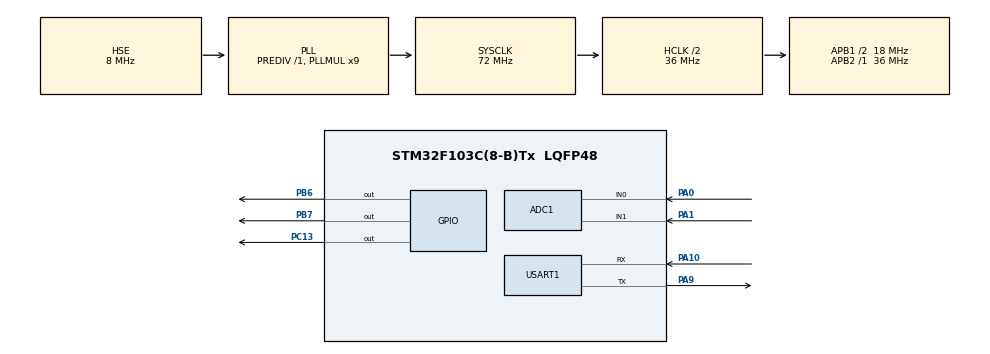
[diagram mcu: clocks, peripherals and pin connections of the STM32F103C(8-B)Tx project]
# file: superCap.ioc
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ADC1.Channel-3\#ChannelRegularConversion=ADC_CHANNEL_0
ADC1.Channel-4\#ChannelRegularConversion=ADC_CHANNEL_1
ADC1.ContinuousConvMode=DISABLE
ADC1.ExternalTrigConv=ADC_EXTERNALTRIGCONV_T3_TRGO
ADC1.NbrOfConversion=2
ADC1.NbrOfConversionFlag=1
ADC1.Rank-3\#ChannelRegularConversion=1
ADC1.Rank-4\#ChannelRegularConversion=2
ADC1.SamplingTime-3\#ChannelRegularConversion=ADC_SAMPLETIME_1CYCLE_5
ADC1.SamplingTime-4\#ChannelRegularConversion=ADC_SAMPLETIME_1CYCLE_5
ADC1.master=1
Dma.ADC1.0.Direction=DMA_PERIPH_TO_MEMORY
Dma.ADC1.0.Instance=DMA1_Channel1
Dma.ADC1.0.MemDataAlignment=DMA_MDATAALIGN_WORD
Dma.ADC1.0.MemInc=DMA_MINC_ENABLE
Dma.ADC1.0.Mode=DMA_CIRCULAR
Dma.ADC1.0.PeriphDataAlignment=DMA_PDATAALIGN_WORD
Dma.ADC1.0.PeriphInc=DMA_PINC_DISABLE
Dma.ADC1.0.Priority=DMA_PRIORITY_LOW
Dma.Request0=ADC1
Mcu.Family=STM32F1
Mcu.Name=STM32F103C(8-B)Tx
Mcu.Package=LQFP48
NVIC.ADC1_2_IRQn=true\:0\:0\:false\:false\:true\:true\:true\:true
NVIC.DMA1_Channel1_IRQn=true\:0\:0\:false\:false\:true\:false\:true\:true
NVIC.PriorityGroup=NVIC_PRIORITYGROUP_4
NVIC.TIM3_IRQn=true\:0\:0\:false\:false\:true\:true\:true\:true
NVIC.USART1_IRQn=true\:0\:0\:false\:false\:true\:true\:true\:true
PA0-WKUP.Signal=ADCx_IN0
PA1.Signal=ADCx_IN1
PA10.Mode=Asynchronous
PA10.Signal=USART1_RX
PA9.Mode=Asynchronous
PA9.Signal=USART1_TX
PB6.GPIO_ModeDefaultOutputPP=GPIO_MODE_OUTPUT_OD
PB6.GPIO_PuPd=GPIO_PULLUP
PB6.Signal=GPIO_Output
PB7.GPIO_ModeDefaultOutputPP=GPIO_MODE_OUTPUT_OD
PB7.GPIO_PuPd=GPIO_PULLUP
PB7.Signal=GPIO_Output
PC13-TAMPER-RTC.PinState=GPIO_PIN_SET
PC13-TAMPER-RTC.Signal=GPIO_Output
PC14-OSC32_IN.Mode=LSE-External-Oscillator
PC14-OSC32_IN.Signal=RCC_OSC32_IN
PC15-OSC32_OUT.Mode=LSE-External-Oscillator
PC15-OSC32_OUT.Signal=RCC_OSC32_OUT
PD0-OSC_IN.Mode=HSE-External-Oscillator
PD0-OSC_IN.Signal=RCC_OSC_IN
PD1-OSC_OUT.Mode=HSE-External-Oscillator
PD1-OSC_OUT.Signal=RCC_OSC_OUT
ProjectManager.HeapSize=0x200
ProjectManager.StackSize=0x400
ProjectManager.TargetToolchain=MDK-ARM V5
RCC.ADCPresc=RCC_ADCPCLK2_DIV4
RCC.AHBCLKDivider=RCC_SYSCLK_DIV2
RCC.AHBFreq_Value=36000000
RCC.APB1CLKDivider=RCC_HCLK_DIV2
RCC.APB1Freq_Value=18000000
RCC.APB1TimFreq_Value=36000000
RCC.APB2Freq_Value=36000000
RCC.APB2TimFreq_Value=36000000
RCC.HCLKFreq_Value=36000000
RCC.PLLMUL=RCC_PLL_MUL9
RCC.PLLSourceVirtual=RCC_PLLSOURCE_HSE
RCC.SYSCLKFreq_VALUE=72000000
RCC.SYSCLKSource=RCC_SYSCLKSOURCE_PLLCLK
RCC.USBFreq_Value=72000000
SH.ADCx_IN0.0=ADC1_IN0,IN0
SH.ADCx_IN1.0=ADC1_IN1,IN1
TIM3.AutoReloadPreload=TIM_AUTORELOAD_PRELOAD_ENABLE
TIM3.Period=59
TIM3.Prescaler=599
TIM3.TIM_MasterOutputTrigger=TIM_TRGO_UPDATE
USART1.VirtualMode=VM_ASYNC
VP_SYS_VS_ND.Mode=No_Debug
VP_TIM3_VS_ClockSourceINT.Mode=Internal
board=custom

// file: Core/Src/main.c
/* USER CODE BEGIN Header */
/**
 ******************************************************************************
 * @file           : main.c
 * @brief          : Main program body
 ******************************************************************************
 * @attention
 *
 * Copyright (c) 2022 STMicroelectronics.
 * All rights reserved.
 *
 * This software is licensed under terms that can be found in the LICENSE file
 * in the root directory of this software component.
 * If no LICENSE file comes with this software, it is provided AS-IS.
 *
 ******************************************************************************
 */
/* USER CODE END Header */
#include "main.h"

/* USER CODE BEGIN Includes */
#include "IIC_OLED.h"
#include "math.h"
#include "stdio.h"
#include "stdlib.h"
#include "string.h"
/* USER CODE END Includes */

/* USER CODE BEGIN PD */
#define MCU_FREQ 72000000
#define TIM_FREQ 1
#define CAPACITY 58.5
#define TIM_TICK (1.0 / TIM_FREQ)
#define SAMPLE_RESISTANCE 0.1
#define TIMES 100
/* USER CODE END PD */

ADC_HandleTypeDef hadc1;
DMA_HandleTypeDef hdma_adc1;

TIM_HandleTypeDef htim3;

UART_HandleTypeDef huart1;

/* USER CODE BEGIN PV */
uint32_t adc_value[256] = {0};
uint8_t aRxBuffer;                // 接收中断缓冲
uint8_t Uart1_RxBuff[256] = {0};  // 接收缓冲
uint8_t Uart1_Rx_Cnt = 0;         // 接收缓冲计数
uint8_t Uart1_RxFlag = 0;
uint8_t cAlmStr[] = "数据溢出(大于256)\r\n";
uint8_t Uart1_TxBuff[256] = {0};  // 发�?�缓�????????????????????????
char msg[256] = {0};
uint8_t BLEConnected = 0, started = 0;
uint8_t ADC_DMAFlag = 0;
float u1 = 0, u2 = 0, uSample = 0, remainEnergy = 0, power = 0;
/* USER CODE END PV */

void SystemClock_Config(void);
static void MX_GPIO_Init(void);
static void MX_DMA_Init(void);
static void MX_ADC1_Init(void);
static void MX_TIM3_Init(void);
static void MX_USART1_UART_Init(void);

/* USER CODE BEGIN 0 */
void HAL_UART_RxCpltCallback(UART_HandleTypeDef *huart) {
    if (Uart1_Rx_Cnt >= 255)  // 溢出判断
    {
        Uart1_Rx_Cnt = 0;
        memset(Uart1_RxBuff, 0x00, sizeof(Uart1_RxBuff));
        HAL_UART_Transmit(&huart1, (uint8_t *)&cAlmStr, sizeof(cAlmStr), 0xFFFF);
    } else {
        Uart1_RxBuff[Uart1_Rx_Cnt++] = aRxBuffer;
        if ((Uart1_RxBuff[Uart1_Rx_Cnt - 1] == 0x0A) && (Uart1_RxBuff[Uart1_Rx_Cnt - 2] == 0x0D)) {
            Uart1_RxFlag = 1;
        }
    }

    HAL_UART_Receive_IT(&huart1, (uint8_t *)&aRxBuffer, 1);
}

void cal_arr_and_psc(float SamplingRate, float MCUFreq, TIM_TypeDef *TIMx) {
    uint32_t totalDashed = MCUFreq / SamplingRate;
    uint32_t sqrtedTotal = (uint32_t)sqrt(totalDashed);

    for (uint32_t Prescaler = 2; Prescaler <= sqrtedTotal || Prescaler < 0xffff;
         Prescaler++) {
        if (totalDashed % Prescaler == 0 && Prescaler > 1 &&
            totalDashed / Prescaler > 1) {
            if (totalDashed / Prescaler <= 0xffff) {
                TIMx->ARR = totalDashed / Prescaler - 1;
                TIMx->PSC = Prescaler - 1;
            }
        }
    }
    totalDashed += 1;
    for (uint32_t Prescaler = 2; Prescaler <= sqrtedTotal || Prescaler < 0xffff;
         Prescaler++) {
        if (totalDashed % Prescaler == 0 && Prescaler > 1 &&
            totalDashed / Prescaler > 1) {
            if (totalDashed / Prescaler <= 0xffff) {
                TIMx->ARR = totalDashed / Prescaler - 1;
                TIMx->PSC = Prescaler - 1;
            }
        }
    }
}

void HAL_ADC_ConvCpltCallback(ADC_HandleTypeDef *hadc) {
    if (u1 == 0 && u2 == 0) {
        u1 = adc_value[0] * 3.3 / 4096;
        return;
    }
    ADC_DMAFlag = 1;
}

/* USER CODE END 0 */

int main(void) {

    /* MCU Configuration--------------------------------------------------------*/

    /* Reset of all peripherals, Initializes the Flash interface and the Systick. */
    HAL_Init();

    /* Configure the system clock */
    SystemClock_Config();

    /* Initialize all configured peripherals */
    MX_GPIO_Init();
    MX_DMA_Init();
    MX_ADC1_Init();
    MX_TIM3_Init();
    MX_USART1_UART_Init();
    /* USER CODE BEGIN 2 */
    HAL_UART_Receive_IT(&huart1, &aRxBuffer, 1);
    HAL_ADCEx_Calibration_Start(&hadc1);
    HAL_GPIO_WritePin(GPIOC, GPIO_PIN_13, GPIO_PIN_RESET);
    HAL_TIM_Base_Start(&htim3);
    HAL_ADC_Start_DMA(&hadc1, adc_value, 256);
    HAL_Delay(1000);
    OLED_Init();
    /* USER CODE END 2 */

    /* Infinite loop */
    while (1) {

        /* USER CODE BEGIN 3 */
        if (Uart1_RxFlag != 0) {
            // 接收串口蓝牙信息, 判断是否连接, 若已连接则开始广播模式
            if (strstr((char *)Uart1_RxBuff, "LINK_ID") != NULL) {
                HAL_UART_Transmit(&huart1, (uint8_t *)"AT+BT_TRANS=1\r\n", 15, 100);
                BLEConnected = 1;
            }
            if (strstr((char *)Uart1_RxBuff, "DISCONN") != NULL) {
                BLEConnected = 0;
            }

            // 若蓝牙收到开始信息, 拉高电平, 开始放电
            if (strstr((char *)Uart1_RxBuff, "start") != NULL) {
                HAL_GPIO_WritePin(GPIOC, GPIO_PIN_13, GPIO_PIN_SET);
                started = 1;
            }

            // 重置串口信息
            Uart1_RxFlag = 0;
            Uart1_Rx_Cnt = 0;
            memset(Uart1_RxBuff, 0x00, 256);
        }

        // DMA完成标志位
        if (ADC_DMAFlag) {
            // adc_value[2n]: ADC_CH1, 电容电压, 128次采样取平均值
            for (int i = 0; i < 256; i += 2)
                u2 += adc_value[i] * 3.3 / 4096;
            u2 /= 128;

            remainEnergy = CAPACITY * u2 * u2 / 2; //利用E = 1/2 * C * U^2的公式计算剩余能量
            // 若剩余能量小于阈值, 则拉低电平, 停止放电
            if (u2 <= 1.3) {
                HAL_GPIO_WritePin(GPIOC, GPIO_PIN_13, GPIO_PIN_RESET);
                started = 0;
            }

            // adc_value[2n-1]: ADC_CH2, 采样电阻电压, 128次采样取平均值
            for (int i = 1; i < 256; i += 2)
                uSample += adc_value[i] * 3.3 / 4096;
            uSample /= 128;

            power = 0.1597 * uSample * uSample - 0.01121 * uSample + 0.1495; // 计算功率, 功率参数为线性拟合后的参数
            if (started == 0) power = 0; // 若未开始放电, 功率置零

            // power = (float)CAPACITY * (u2 * u2 - u1 * u1) / (2 * TIM_TICK);
            // u1 = u2;

            // 储存功率/能量信息
            sprintf(msg, "Energy: %.2fJ  Power: %.2fW", remainEnergy, power);
            // OLED打印信息
            OLED_Clear();
            OLED_ShowString(0, 0, (uint8_t *)msg, 16, 1);
            // 如果已链接蓝牙, 则发送功率/能量信息
            if (BLEConnected) {
								// sprintf((char *)Uart1_TxBuff, "%s\r\nVs: %.2f", msg, uSample);
								sprintf((char *)Uart1_TxBuff, "%s\r\n", msg);
                HAL_UART_Transmit(&huart1, (uint8_t *)Uart1_TxBuff, strlen((char *)Uart1_TxBuff), 0xFFFF);
            }

            // 重置标志位
            ADC_DMAFlag = 0;
        }
    }
    /* USER CODE END 3 */
}

void SystemClock_Config(void) {
    RCC_OscInitTypeDef RCC_OscInitStruct = {0};
    RCC_ClkInitTypeDef RCC_ClkInitStruct = {0};
    RCC_PeriphCLKInitTypeDef PeriphClkInit = {0};

    /** Initializes the RCC Oscillators according to the specified parameters
     * in the RCC_OscInitTypeDef structure.
     */
    RCC_OscInitStruct.OscillatorType = RCC_OSCILLATORTYPE_HSE;
    RCC_OscInitStruct.HSEState = RCC_HSE_ON;
    RCC_OscInitStruct.HSEPredivValue = RCC_HSE_PREDIV_DIV1;
    RCC_OscInitStruct.HSIState = RCC_HSI_ON;
    RCC_OscInitStruct.PLL.PLLState = RCC_PLL_ON;
    RCC_OscInitStruct.PLL.PLLSource = RCC_PLLSOURCE_HSE;
    RCC_OscInitStruct.PLL.PLLMUL = RCC_PLL_MUL9;
    if (HAL_RCC_OscConfig(&RCC_OscInitStruct) != HAL_OK) {
        Error_Handler();
    }

    /** Initializes the CPU, AHB and APB buses clocks
     */
    RCC_ClkInitStruct.ClockType = RCC_CLOCKTYPE_HCLK | RCC_CLOCKTYPE_SYSCLK | RCC_CLOCKTYPE_PCLK1 | RCC_CLOCKTYPE_PCLK2;
    RCC_ClkInitStruct.SYSCLKSource = RCC_SYSCLKSOURCE_PLLCLK;
    RCC_ClkInitStruct.AHBCLKDivider = RCC_SYSCLK_DIV2;
    RCC_ClkInitStruct.APB1CLKDivider = RCC_HCLK_DIV2;
    RCC_ClkInitStruct.APB2CLKDivider = RCC_HCLK_DIV1;

    if (HAL_RCC_ClockConfig(&RCC_ClkInitStruct, FLASH_LATENCY_2) != HAL_OK) {
        Error_Handler();
    }
    PeriphClkInit.PeriphClockSelection = RCC_PERIPHCLK_ADC;
    PeriphClkInit.AdcClockSelection = RCC_ADCPCLK2_DIV4;
    if (HAL_RCCEx_PeriphCLKConfig(&PeriphClkInit) != HAL_OK) {
        Error_Handler();
    }
}

static void MX_ADC1_Init(void) {

    ADC_ChannelConfTypeDef sConfig = {0};

    /** Common config
     */
    hadc1.Instance = ADC1;
    hadc1.Init.ScanConvMode = ADC_SCAN_ENABLE;
    hadc1.Init.ContinuousConvMode = DISABLE;
    hadc1.Init.DiscontinuousConvMode = DISABLE;
    hadc1.Init.ExternalTrigConv = ADC_EXTERNALTRIGCONV_T3_TRGO;
    hadc1.Init.DataAlign = ADC_DATAALIGN_RIGHT;
    hadc1.Init.NbrOfConversion = 2;
    if (HAL_ADC_Init(&hadc1) != HAL_OK) {
        Error_Handler();
    }

    /** Configure Regular Channel
     */
    sConfig.Channel = ADC_CHANNEL_0;
    sConfig.Rank = ADC_REGULAR_RANK_1;
    sConfig.SamplingTime = ADC_SAMPLETIME_1CYCLE_5;
    if (HAL_ADC_ConfigChannel(&hadc1, &sConfig) != HAL_OK) {
        Error_Handler();
    }

    /** Configure Regular Channel
     */
    sConfig.Channel = ADC_CHANNEL_1;
    sConfig.Rank = ADC_REGULAR_RANK_2;
    if (HAL_ADC_ConfigChannel(&hadc1, &sConfig) != HAL_OK) {
        Error_Handler();
    }
}

static void MX_TIM3_Init(void) {

    TIM_ClockConfigTypeDef sClockSourceConfig = {0};
    TIM_MasterConfigTypeDef sMasterConfig = {0};

    htim3.Instance = TIM3;
    htim3.Init.Prescaler = 599;
    htim3.Init.CounterMode = TIM_COUNTERMODE_UP;
    htim3.Init.Period = 59;
    htim3.Init.ClockDivision = TIM_CLOCKDIVISION_DIV1;
    htim3.Init.AutoReloadPreload = TIM_AUTORELOAD_PRELOAD_ENABLE;
    if (HAL_TIM_Base_Init(&htim3) != HAL_OK) {
        Error_Handler();
    }
    sClockSourceConfig.ClockSource = TIM_CLOCKSOURCE_INTERNAL;
    if (HAL_TIM_ConfigClockSource(&htim3, &sClockSourceConfig) != HAL_OK) {
        Error_Handler();
    }
    sMasterConfig.MasterOutputTrigger = TIM_TRGO_UPDATE;
    sMasterConfig.MasterSlaveMode = TIM_MASTERSLAVEMODE_DISABLE;
    if (HAL_TIMEx_MasterConfigSynchronization(&htim3, &sMasterConfig) != HAL_OK) {
        Error_Handler();
    }
}

static void MX_USART1_UART_Init(void) {

    huart1.Instance = USART1;
    huart1.Init.BaudRate = 115200;
    huart1.Init.WordLength = UART_WORDLENGTH_8B;
    huart1.Init.StopBits = UART_STOPBITS_1;
    huart1.Init.Parity = UART_PARITY_NONE;
    huart1.Init.Mode = UART_MODE_TX_RX;
    huart1.Init.HwFlowCtl = UART_HWCONTROL_NONE;
    huart1.Init.OverSampling = UART_OVERSAMPLING_16;
    if (HAL_UART_Init(&huart1) != HAL_OK) {
        Error_Handler();
    }
}

static void MX_DMA_Init(void) {
    /* DMA controller clock enable */
    __HAL_RCC_DMA1_CLK_ENABLE();

    /* DMA interrupt init */
    /* DMA1_Channel1_IRQn interrupt configuration */
    HAL_NVIC_SetPriority(DMA1_Channel1_IRQn, 0, 0);
    HAL_NVIC_EnableIRQ(DMA1_Channel1_IRQn);
}

static void MX_GPIO_Init(void) {
    GPIO_InitTypeDef GPIO_InitStruct = {0};

    /* GPIO Ports Clock Enable */
    __HAL_RCC_GPIOC_CLK_ENABLE();
    __HAL_RCC_GPIOD_CLK_ENABLE();
    __HAL_RCC_GPIOA_CLK_ENABLE();
    __HAL_RCC_GPIOB_CLK_ENABLE();

    /*Configure GPIO pin Output Level */
    HAL_GPIO_WritePin(GPIOC, GPIO_PIN_13, GPIO_PIN_SET);

    /*Configure GPIO pin Output Level */
    HAL_GPIO_WritePin(GPIOB, GPIO_PIN_6 | GPIO_PIN_7, GPIO_PIN_RESET);

    /*Configure GPIO pin : PC13 */
    GPIO_InitStruct.Pin = GPIO_PIN_13;
    GPIO_InitStruct.Mode = GPIO_MODE_OUTPUT_PP;
    GPIO_InitStruct.Pull = GPIO_NOPULL;
    GPIO_InitStruct.Speed = GPIO_SPEED_FREQ_LOW;
    HAL_GPIO_Init(GPIOC, &GPIO_InitStruct);

    /*Configure GPIO pins : PB6 PB7 */
    GPIO_InitStruct.Pin = GPIO_PIN_6 | GPIO_PIN_7;
    GPIO_InitStruct.Mode = GPIO_MODE_OUTPUT_OD;
    GPIO_InitStruct.Pull = GPIO_PULLUP;
    GPIO_InitStruct.Speed = GPIO_SPEED_FREQ_LOW;
    HAL_GPIO_Init(GPIOB, &GPIO_InitStruct);
}

void Error_Handler(void) {
    __disable_irq();
    while (1) {
    }
}
